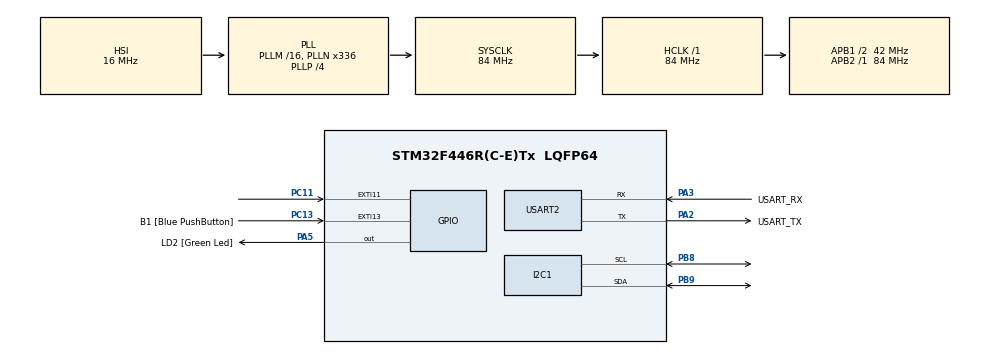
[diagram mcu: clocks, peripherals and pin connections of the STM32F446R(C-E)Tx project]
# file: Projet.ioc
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Dma.I2C1_RX.0.Direction=DMA_PERIPH_TO_MEMORY
Dma.I2C1_RX.0.FIFOMode=DMA_FIFOMODE_DISABLE
Dma.I2C1_RX.0.Instance=DMA1_Stream0
Dma.I2C1_RX.0.MemDataAlignment=DMA_MDATAALIGN_BYTE
Dma.I2C1_RX.0.MemInc=DMA_MINC_ENABLE
Dma.I2C1_RX.0.Mode=DMA_NORMAL
Dma.I2C1_RX.0.PeriphDataAlignment=DMA_PDATAALIGN_BYTE
Dma.I2C1_RX.0.PeriphInc=DMA_PINC_DISABLE
Dma.I2C1_RX.0.Priority=DMA_PRIORITY_LOW
Dma.I2C1_TX.1.Direction=DMA_MEMORY_TO_PERIPH
Dma.I2C1_TX.1.FIFOMode=DMA_FIFOMODE_DISABLE
Dma.I2C1_TX.1.Instance=DMA1_Stream6
Dma.I2C1_TX.1.MemDataAlignment=DMA_MDATAALIGN_BYTE
Dma.I2C1_TX.1.MemInc=DMA_MINC_ENABLE
Dma.I2C1_TX.1.Mode=DMA_NORMAL
Dma.I2C1_TX.1.PeriphDataAlignment=DMA_PDATAALIGN_BYTE
Dma.I2C1_TX.1.PeriphInc=DMA_PINC_DISABLE
Dma.I2C1_TX.1.Priority=DMA_PRIORITY_LOW
Dma.Request0=I2C1_RX
Dma.Request1=I2C1_TX
I2C1.I2C_Mode=I2C_Fast
Mcu.Family=STM32F4
Mcu.Name=STM32F446R(C-E)Tx
Mcu.Package=LQFP64
NVIC.DMA1_Stream0_IRQn=true\:0\:0\:false\:false\:true\:false\:true\:true
NVIC.DMA1_Stream6_IRQn=true\:0\:0\:false\:false\:true\:false\:true\:true
NVIC.EXTI15_10_IRQn=true\:0\:0\:false\:false\:true\:true\:true\:true
NVIC.I2C1_ER_IRQn=true\:0\:0\:false\:false\:true\:true\:true\:true
NVIC.I2C1_EV_IRQn=true\:0\:0\:false\:false\:true\:true\:true\:true
NVIC.PriorityGroup=NVIC_PRIORITYGROUP_0
PA13.GPIO_Label=TMS
PA13.Mode=Serial_Wire
PA13.Signal=SYS_JTMS-SWDIO
PA14.GPIO_Label=TCK
PA14.Mode=Serial_Wire
PA14.Signal=SYS_JTCK-SWCLK
PA2.GPIO_Label=USART_TX
PA2.Mode=Asynchronous
PA2.Signal=USART2_TX
PA3.GPIO_Label=USART_RX
PA3.Mode=Asynchronous
PA3.Signal=USART2_RX
PA5.GPIO_Label=LD2 [Green Led]
PA5.Signal=GPIO_Output
PB3.GPIO_Label=SWO
PB3.Signal=SYS_JTDO-SWO
PB8.Mode=I2C
PB8.Signal=I2C1_SCL
PB9.Mode=I2C
PB9.Signal=I2C1_SDA
PC11.GPIO_ModeDefaultEXTI=GPIO_MODE_IT_FALLING
PC11.GPIO_PuPd=GPIO_PULLUP
PC11.Signal=GPXTI11
PC13.GPIO_Label=B1 [Blue PushButton]
PC13.GPIO_ModeDefaultEXTI=GPIO_MODE_IT_FALLING
PC13.Signal=GPXTI13
PC14-OSC32_IN.Mode=LSE-External-Oscillator
PC14-OSC32_IN.Signal=RCC_OSC32_IN
PC15-OSC32_OUT.Mode=LSE-External-Oscillator
PC15-OSC32_OUT.Signal=RCC_OSC32_OUT
PH0-OSC_IN.Mode=HSE-External-Oscillator
PH0-OSC_IN.Signal=RCC_OSC_IN
PH1-OSC_OUT.Mode=HSE-External-Oscillator
PH1-OSC_OUT.Signal=RCC_OSC_OUT
ProjectManager.HeapSize=0x200
ProjectManager.StackSize=0x400
ProjectManager.TargetToolchain=MDK-ARM V5.32
RCC.48MHZClocksFreq_Value=84000000
RCC.AHBFreq_Value=84000000
RCC.APB1CLKDivider=RCC_HCLK_DIV2
RCC.APB1Freq_Value=42000000
RCC.APB1TimFreq_Value=84000000
RCC.APB2Freq_Value=84000000
RCC.APB2TimFreq_Value=84000000
RCC.CortexFreq_Value=84000000
RCC.FLatency-AdvancedSettings=FLASH_LATENCY_2
RCC.HCLKFreq_Value=84000000
RCC.HSE_VALUE=8000000
RCC.HSI_VALUE=16000000
RCC.PLLN=336
RCC.PLLP=RCC_PLLP_DIV4
RCC.SYSCLKFreq_VALUE=84000000
RCC.SYSCLKSource=RCC_SYSCLKSOURCE_PLLCLK
RCC.USBFreq_Value=168000000
RCC.VCOOutputFreq_Value=336000000
USART2.VirtualMode=VM_ASYNC
board=NUCLEO-F446RE

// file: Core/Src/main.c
/* USER CODE BEGIN Header */
/**
  ******************************************************************************
  * @file           : main.c
  * @brief          : Main program body
  ******************************************************************************
  * @attention
  *
  * Copyright (c) 2024 STMicroelectronics.
  * All rights reserved.
  *
  * This software is licensed under terms that can be found in the LICENSE file
  * in the root directory of this software component.
  * If no LICENSE file comes with this software, it is provided AS-IS.
  *
  ******************************************************************************
  */
/* USER CODE END Header */
#include "main.h"
#include "dma.h"
#include "i2c.h"
#include "usart.h"
#include "gpio.h"

/* USER CODE BEGIN Includes */
#include "stdio.h"

/* USER CODE END Includes */

/* USER CODE BEGIN PD */
#define MPU6050_ADDR 0x68

/* USER CODE END PD */

/* USER CODE BEGIN PV */

uint8_t data_buffer[6];
int scale_factor;
volatile int flag;
float accel_x;
float accel_y;
float accel_z;

/* USER CODE END PV */

void SystemClock_Config(void);

/* USER CODE BEGIN 0 */

void Check_who_am_i(){
	uint8_t who_am_i=0;
	HAL_StatusTypeDef res;
	uint8_t WHO_AM_I_ADRESS=0x75;

	res=HAL_I2C_Mem_Read(&hi2c1,MPU6050_ADDR<<1,WHO_AM_I_ADRESS,I2C_MEMADD_SIZE_8BIT,&who_am_i,1,HAL_MAX_DELAY);

	if (res==HAL_OK){
		if (who_am_i==0x68){
			printf("MPU-6050 detecte ok \r\n");
		}

		else{
			printf("Erreur: MPU-6050 detecte, mauvaise valeur lue : %i \r\n",who_am_i);
		}
	}

	else{
		printf("Erreur: Impossible de lire le registre WHO_AM_I\r\n ");

	}

}

void Configure_MPU6050() {
    HAL_StatusTypeDef ret;

		uint8_t pwr_mgmt_1_value = 0x80;  // DEVICE_RESET = 1
    ret = HAL_I2C_Mem_Write(&hi2c1, MPU6050_ADDR << 1, 0x6B, I2C_MEMADD_SIZE_8BIT, &pwr_mgmt_1_value, 1, HAL_MAX_DELAY);
    if (ret == HAL_OK) printf("reset ok PWR_MGMT, ret = %d\r\n", ret);

		HAL_Delay(100);  // Attendre le reset

    // PWR_MGMT_1 : Sélection de l'horloge interne
    pwr_mgmt_1_value = 0x08;
    ret = HAL_I2C_Mem_Write(&hi2c1, MPU6050_ADDR << 1, 0x6B, I2C_MEMADD_SIZE_8BIT, &pwr_mgmt_1_value, 1, HAL_MAX_DELAY);
    HAL_Delay(100);
		if (ret != HAL_OK) printf("Erreur de configuration PWR_MGMT_1, ret = %d\r\n", ret);

    // GYRO_CONFIG : FS_SEL = ±250 °/s, désactiver Selftest
    uint8_t gyro_config_value = 0b00000000;
    ret = HAL_I2C_Mem_Write(&hi2c1, MPU6050_ADDR << 1, 0x1B, I2C_MEMADD_SIZE_8BIT, &gyro_config_value, 1, HAL_MAX_DELAY);
    if (ret != HAL_OK) printf("Erreur de configuration GYRO_CONFIG\r\n");

    // ACCEL_CONFIG : AFS_SEL = ±2g, désactiver Selftest
    uint8_t accel_config_value = 0b00000000;
		scale_factor=16384;
    ret = HAL_I2C_Mem_Write(&hi2c1, MPU6050_ADDR << 1, 0x1C, I2C_MEMADD_SIZE_8BIT, &accel_config_value, 1, HAL_MAX_DELAY);
    if (ret != HAL_OK) printf("Erreur de configuration ACCEL_CONFIG\r\n");

    // CONFIG : Bandwidth = 94 Hz
    uint8_t config_value = 0b00000010;
    ret = HAL_I2C_Mem_Write(&hi2c1, MPU6050_ADDR << 1, 0x1A, I2C_MEMADD_SIZE_8BIT, &config_value, 1, HAL_MAX_DELAY);
    if (ret != HAL_OK) printf("Erreur de configuration CONFIG\r\n");

    // INT_ENABLE : Activer l'interruption DATA_RDY_EN
    uint8_t int_enable_value = 0b00000001;
    ret = HAL_I2C_Mem_Write(&hi2c1, MPU6050_ADDR << 1, 0x38, I2C_MEMADD_SIZE_8BIT, &int_enable_value, 1, HAL_MAX_DELAY);
    if (ret != HAL_OK) printf("Erreur de configuration INT_ENABLE\r\n");

    printf("Configuration du MPU-6050 terminee.\r\n");
}

void HAL_GPIO_EXTI_Callback(uint16_t GPIO_Pin) {
    if (GPIO_Pin == GPIO_PIN_11) {
        if (hi2c1.State == HAL_I2C_STATE_READY) {
            HAL_I2C_Mem_Read_DMA(&hi2c1, MPU6050_ADDR << 1, 0x3B, I2C_MEMADD_SIZE_8BIT, data_buffer, 6);

        }
    }
}

void HAL_I2C_MemRxCpltCallback(I2C_HandleTypeDef *hi2c) {
    if (hi2c->Instance == I2C1) {
				int16_t raw_accel_x = (data_buffer[0] << 8) | data_buffer[1];
        int16_t raw_accel_y = (data_buffer[2] << 8) | data_buffer[3];
        int16_t raw_accel_z = (data_buffer[4] << 8) | data_buffer[5];

				accel_x=(float)raw_accel_x/scale_factor;
				accel_y=(float)raw_accel_y/scale_factor;
				accel_z=(float)raw_accel_z/scale_factor;
        flag=1;
				//printf("data_buffer: %02X %02X %02X %02X %02X %02X\r\n", data_buffer[0], data_buffer[1], data_buffer[2], data_buffer[3], data_buffer[4], data_buffer[5]);

    }
}

/* USER CODE END 0 */

int main(void)
{

  /* MCU Configuration--------------------------------------------------------*/

  /* Reset of all peripherals, Initializes the Flash interface and the Systick. */
  HAL_Init();

  /* Configure the system clock */
  SystemClock_Config();

  /* Initialize all configured peripherals */
  MX_GPIO_Init();
  MX_DMA_Init();
	HAL_Delay(100);
  MX_I2C1_Init();

  MX_USART2_UART_Init();
  /* USER CODE BEGIN 2 */

	Check_who_am_i();
	Configure_MPU6050();

	HAL_StatusTypeDef status = HAL_I2C_IsDeviceReady(&hi2c1, MPU6050_ADDR<<1, 1, 100);
				HAL_Delay(1000);
				if (status == HAL_OK) {
						printf("Device is ready.\n");
				} else if (status == HAL_ERROR) {
						printf("Error: Device is not ready.\n");
				} else if (status == HAL_BUSY) {
						printf("Device is busy.\n");
				} else if (status == HAL_TIMEOUT) {
						printf("Operation timed out.\n");
				} else {
						printf("Unknown status.\n");
				}

  /* USER CODE END 2 */

  /* Infinite loop */
  while (1)
  {
		printf("data_buffer: %.2f  %.2f  %.2f \r\n",accel_x, accel_y,accel_z);
		HAL_Delay(250);
  }
}

void SystemClock_Config(void)
{
  RCC_OscInitTypeDef RCC_OscInitStruct = {0};
  RCC_ClkInitTypeDef RCC_ClkInitStruct = {0};

  /** Configure the main internal regulator output voltage
  */
  __HAL_RCC_PWR_CLK_ENABLE();
  __HAL_PWR_VOLTAGESCALING_CONFIG(PWR_REGULATOR_VOLTAGE_SCALE3);

  /** Initializes the RCC Oscillators according to the specified parameters
  * in the RCC_OscInitTypeDef structure.
  */
  RCC_OscInitStruct.OscillatorType = RCC_OSCILLATORTYPE_HSI;
  RCC_OscInitStruct.HSIState = RCC_HSI_ON;
  RCC_OscInitStruct.HSICalibrationValue = RCC_HSICALIBRATION_DEFAULT;
  RCC_OscInitStruct.PLL.PLLState = RCC_PLL_ON;
  RCC_OscInitStruct.PLL.PLLSource = RCC_PLLSOURCE_HSI;
  RCC_OscInitStruct.PLL.PLLM = 16;
  RCC_OscInitStruct.PLL.PLLN = 336;
  RCC_OscInitStruct.PLL.PLLP = RCC_PLLP_DIV4;
  RCC_OscInitStruct.PLL.PLLQ = 2;
  RCC_OscInitStruct.PLL.PLLR = 2;
  if (HAL_RCC_OscConfig(&RCC_OscInitStruct) != HAL_OK)
  {
    Error_Handler();
  }

  /** Initializes the CPU, AHB and APB buses clocks
  */
  RCC_ClkInitStruct.ClockType = RCC_CLOCKTYPE_HCLK|RCC_CLOCKTYPE_SYSCLK
                              |RCC_CLOCKTYPE_PCLK1|RCC_CLOCKTYPE_PCLK2;
  RCC_ClkInitStruct.SYSCLKSource = RCC_SYSCLKSOURCE_PLLCLK;
  RCC_ClkInitStruct.AHBCLKDivider = RCC_SYSCLK_DIV1;
  RCC_ClkInitStruct.APB1CLKDivider = RCC_HCLK_DIV2;
  RCC_ClkInitStruct.APB2CLKDivider = RCC_HCLK_DIV1;

  if (HAL_RCC_ClockConfig(&RCC_ClkInitStruct, FLASH_LATENCY_2) != HAL_OK)
  {
    Error_Handler();
  }
}

/* USER CODE BEGIN 4 */

/* USER CODE BEGIN 4 */
int fputc(int ch, FILE *f)
{
 /* Place your implementation of fputc here */
 /* e.g. write a character to the USART2 and Loop until the end of transmission */
	HAL_UART_Transmit(&huart2, (uint8_t *)&ch, 1, 0xFFFF);
	return ch;
}
/* USER CODE END 4 */

void Error_Handler(void)
{
  __disable_irq();
  while (1)
  {
  }
}
